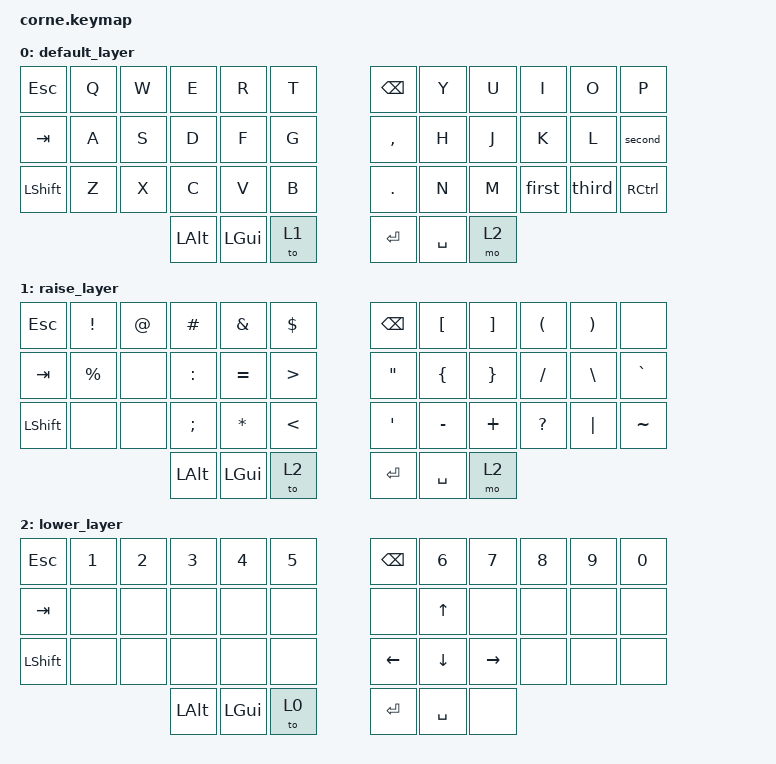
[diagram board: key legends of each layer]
/*
 * Copyright (c) 2020 The ZMK Contributors
 *
 * SPDX-License-Identifier: MIT
 */

#include <behaviors.dtsi>
#include <dt-bindings/zmk/keys.h>

/ {
    combos { compatible = "zmk,combos"; };

    macros {
        first: first {
            compatible = "zmk,behavior-macro";
            #binding-cells = <0>;
            bindings = <&kp LA(A)>;
            label = "FIRST";
        };

        second: ao {
            compatible = "zmk,behavior-macro";
            #binding-cells = <0>;
            bindings = <&kp LA(U) &kp O>;
            label = "SECOND";
        };

        third: oa {
            compatible = "zmk,behavior-macro";
            #binding-cells = <0>;
            bindings = <&kp LA(U) &kp A>;
            label = "THIRD";
        };
    };

    keymap {
        compatible = "zmk,keymap";

        default_layer {
            // -----------------------------------------------------------------------------------------
            // |  TAB |  Q  |  W  |  E  |  R  |  T  |   |  Y  |  U   |  I  |  O  |  P  | BKSP |
            // | CTRL |  A  |  S  |  D  |  F  |  G  |   |  H  |  J   |  K  |  L  |  ;  |  '   |
            // | SHFT |  Z  |  X  |  C  |  V  |  B  |   |  N  |  M   |  ,  |  .  |  /  | ESC  |
            //                    | GUI | LWR | SPC |   | ENT | RSE  | ALT |

            bindings = <
&kp ESCAPE  &kp Q  &kp W  &kp E         &kp R     &kp T    &kp BACKSPACE  &kp Y      &kp U  &kp I   &kp O   &kp P
&kp TAB     &kp A  &kp S  &kp D         &kp F     &kp G    &kp COMMA      &kp H      &kp J  &kp K   &kp L   &second
&kp LSHFT   &kp Z  &kp X  &kp C         &kp V     &kp B    &kp PERIOD     &kp N      &kp M  &first  &third  &kp RIGHT_CONTROL
                          &kp LEFT_ALT  &kp LGUI  &to 1    &kp RET        &kp SPACE  &mo 2
            >;
        };

        raise_layer {
            // -----------------------------------------------------------------------------------------
            // |  TAB |  !  |  @  |  #  |  $  |  %  |   |  ^  |  &  |  *  |  (  |  )  | BKSP |
            // | CTRL |     |     |     |     |     |   |  -  |  =  |  [  |  ]  |  \  |  `   |
            // | SHFT |     |     |     |     |     |   |  _  |  +  |  {  |  }  | "|" |  ~   |
            //                    | GUI |     | SPC |   | ENT |     | ALT |

            bindings = <
&kp ESCAPE  &kp EXCL     &kp AT  &kp HASH       &kp AMPERSAND  &kp DOLLAR          &kp BACKSPACE      &kp LEFT_BRACKET  &kp RIGHT_BRACKET  &kp LEFT_PARENTHESIS  &kp RIGHT_PARENTHESIS  &none
&kp TAB     &kp PERCENT  &none   &kp COLON      &kp EQUAL      &kp GREATER_THAN    &kp DOUBLE_QUOTES  &kp LEFT_BRACE    &kp RIGHT_BRACE    &kp SLASH             &kp BSLH               &kp GRAVE
&kp LSHFT   &none        &none   &kp SEMICOLON  &kp ASTERISK   &kp LESS_THAN       &kp SINGLE_QUOTE   &kp MINUS         &kp PLUS           &kp QUESTION          &kp PIPE               &kp TILDE
                                 &kp LEFT_ALT   &kp LGUI       &to 2               &kp RET            &kp SPACE         &mo 2
            >;
        };

        lower_layer {
            // -----------------------------------------------------------------------------------------
            // |  TAB |  1  |  2  |  3  |  4  |  5  |   |  6  |  7  |  8  |  9  |  0  | BKSP |
            // | BTCLR| BT1 | BT2 | BT3 | BT4 | BT5 |   | LFT | DWN |  UP | RGT |     |      |
            // | SHFT |     |     |     |     |     |   |     |     |     |     |     |      |
            //                    | GUI |     | SPC |   | ENT |     | ALT |

            bindings = <
&kp ESCAPE  &kp N1  &kp NUMBER_2  &kp N3        &kp N4    &kp N5    &kp BACKSPACE  &kp NUMBER_6  &kp NUMBER_7  &kp NUMBER_8  &kp NUMBER_9  &kp NUMBER_0
&kp TAB     &none   &none         &none         &none     &none     &none          &kp UP_ARROW  &none         &none         &none         &none
&kp LSHFT   &none   &none         &none         &none     &none     &kp LEFT       &kp DOWN      &kp RIGHT     &none         &none         &none
                                  &kp LEFT_ALT  &kp LGUI  &to 0     &kp RET        &kp SPACE     &none
            >;
        };
    };
};
